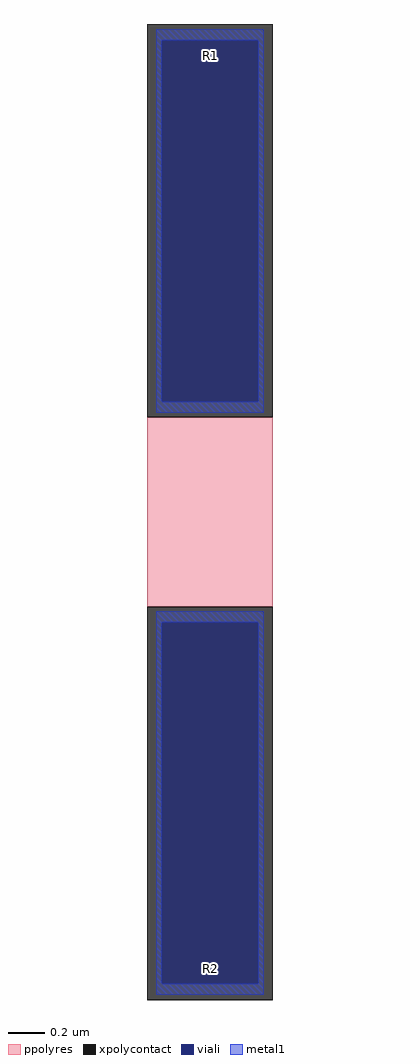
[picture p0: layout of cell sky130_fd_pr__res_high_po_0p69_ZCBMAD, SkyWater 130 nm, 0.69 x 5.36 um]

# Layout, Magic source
magic
tech sky130A
magscale 1 2
<< xpolycontact >>
rect -69 104 69 536
rect -69 -536 69 -104
<< ppolyres >>
rect -69 -104 69 104
<< viali >>
rect -53 121 53 518
rect -53 -518 53 -121
<< metal1 >>
rect -59 518 59 530
rect -59 121 -53 518
rect 53 121 59 518
rect -59 109 59 121
rect -59 -121 59 -109
rect -59 -518 -53 -121
rect 53 -518 59 -121
rect -59 -530 59 -518
<< labels >>
rlabel xpolycontact 0 501 0 501 0 R1
port 1 nsew
rlabel xpolycontact 0 -501 0 -501 0 R2
port 2 nsew
<< properties >>
string gencell sky130_fd_pr__res_high_po_0p69
string library sky130
string parameters w 0.69 l 1.2 m 1 nx 1 wmin 0.690 lmin 0.50 class resistor rho 319.8 val 1.12k dummy 0 dw 0.0 term 194.82 sterm 0.0 caplen 0 guard 0 glc 1 grc 1 gtc 1 gbc 1 compatible {sky130_fd_pr__res_high_po_0p35  sky130_fd_pr__res_high_po_0p69 sky130_fd_pr__res_high_po_1p41  sky130_fd_pr__res_high_po_2p85 sky130_fd_pr__res_high_po_5p73} snake 0 full_metal 1 wmax 0.690 n_guard 0 hv_guard 0 vias 1 viagb 0 viagt 0 viagl 0 viagr 0 doports 1
<< end >>
